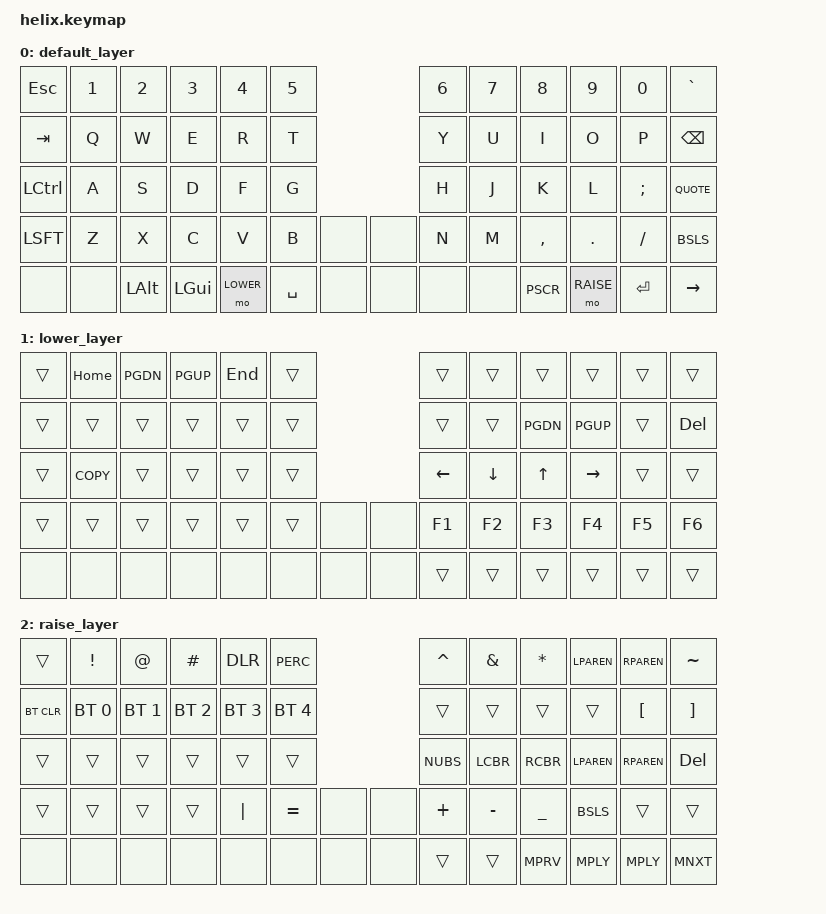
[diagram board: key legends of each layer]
/* /* */
/*  * Copyright (c) 2020 The ZMK Contributors */
/*  * */
/*  * SPDX-License-Identifier: MIT */
/*  */ */
/**/
/*  #include <behaviors.dtsi> */
/*  #include <dt-bindings/zmk/keys.h> */
/*  #include <dt-bindings/zmk/bt.h> */
/*  #include <dt-bindings/zmk/rgb.h> */
/*  #include <dt-bindings/zmk/ext_power.h> */
/*  #include <dt-bindings/zmk/outputs.h> */
/**/
/*  #define DEFAULT 0 */
/*  #define LOWER  1 */
/*  #define RAISE  2 */
/*  #define ADJUST 3 */
/**/
/* /* NOTE: At the time of the creation of this keymap, there are no specified codes for 'eisuu' and 'kana' input in ZMK. */
/* However, 'LANG1' and 'LANG2' are fully-functioning candidates for 'kana' and 'eisuu' input respectively. */
/* As such, those are in use within the default layer at this time.*/ */
/**/
/* / { */
/*        keymap { */
/*               compatible = "zmk,keymap"; */
/**/
/*               default_layer { */
/*  // --------------------------------------------------------------------------------------------------------------------------------- */
/*  // | GRAVE  |   1    |   2    |   3    |   4    |   5    |                                      |   6    |   7    |   8    |   9    |   0    |  DEL   | */
/*  // |  TAB   |   Q    |   W    |   E    |   R    |   T    |                                      |   Y    |   U    |   I    |   O    |   P    |  BSPC  | */
/*  // |  CTRL  |   A    |   S    |   D    |   F    |   G    |                                      |   H    |   J    |   K    |   L    |   ;    |   '    | */
/*  // |  SHIFT |   Z    |   X    |   C    |   V    |   B    |  LBKT  |                    |  RBKT  |   N    |   M    |   ,    |   .    |   /    |  RET   | */
/*  // | ADJUST |  ESC   |  ALT   |  LGUI  | EISUU  | LOWER  | SPACE  |                    |  SPACE | RAISE  |  KANA  |  LEFT  |  DOWN  |  UP    |  RIGHT | */
/*                      bindings = < */
/*        &kp GRAVE  &kp N1  &kp N2   &kp N3   &kp N4    &kp N5                               &kp N6    &kp N7    &kp N8    &kp N9     &kp N0    &kp DEL */
/*        &kp TAB    &kp Q   &kp W    &kp E    &kp R     &kp T                                &kp Y     &kp U     &kp I     &kp O      &kp P     &kp BSPC */
/*        &kp LCTRL  &kp A   &kp S    &kp D    &kp F     &kp G                                &kp H     &kp J     &kp K     &kp L      &kp SEMI  &kp SQT */
/*        &kp LSHFT  &kp Z   &kp X    &kp C    &kp V     &kp B     &kp LBKT         &kp RBKT  &kp N     &kp M     &kp COMMA &kp PERIOD &kp SLASH &kp RET */
/*        &mo ADJUST &kp ESC &kp LALT &kp LGUI &kp LANG2 &mo LOWER &kp SPACE        &kp SPACE &mo RAISE &kp LANG1 &kp LEFT  &kp DOWN   &kp UP    &kp RIGHT */
/*                      >; */
/*               }; */
/*               lower_layer { */
/*  // --------------------------------------------------------------------------------------------------------------------------------- */
/*  // |      |      |      |      |      |      |                                  |      |      |      |      |      |      | */
/*  // |  ~   |  !   |  @   |  #   |  $   |  %   |                                  |  ^   |  &   |  *   |  (   |  )   |      | */
/*  // |      |      |      |      |      |      |                                  |      |  _   |  +   |  {   |  }   | PIPE | */
/*  // |      |      |      |      |      |      |  (   |                    |  )   |      |      |      | HOME | END  |      | */
/*  // |      |      |      |      |      |      |      |                    |      |      |      |      |      |      |      | */
/*                      bindings = < */
/*        &trans    &trans   &trans &trans   &trans   &trans                             &trans    &trans    &trans    &trans   &trans   &trans */
/*        &kp TILDE &kp EXCL &kp AT &kp HASH &kp DLLR &kp PRCNT                          &kp CARET &kp AMPS  &kp ASTRK &kp LPAR &kp RPAR &trans */
/*        &trans    &trans   &trans &trans   &trans   &trans                             &trans    &kp UNDER &kp PLUS  &kp LBRC &kp RBRC &kp PIPE */
/*        &trans    &trans   &trans &trans   &trans   &trans    &kp LPAR        &kp RPAR &trans    &trans    &trans    &kp HOME &kp END  &trans */
/*        &trans    &trans   &trans &trans   &trans   &trans    &trans          &trans   &trans    &trans    &trans    &trans   &trans   &trans */
/*                      >; */
/*               }; */
/*               raise_layer { */
/*  // --------------------------------------------------------------------------------------------------------------------------------- */
/*  // |       |       |       |       |       |       |                                    |       |       |       |       |       |       | */
/*  // |   `   |   1   |   2   |   3   |   4   |   5   |                                    |   6   |   7   |   8   |   9   |   0   |  DEL  | */
/*  // |       |  F1   |  F2   |  F3   |  F4   |  F5   |                                    |  F6   |   -   |   =   |   [   |   ]   |   \   | */
/*  // |       |  F7   |  F8   |  F9   |  F10  |  F11  |       |                    |       |  F12  |       | PSCRN | PG_DN | PG_UP |       | */
/*  // |       |       |       |       |       |       |       |                    |       |       |       | NEXT  | VOL-  | VOL+  | PLAY  | */
/*                      bindings = < */
/*        &trans    &trans &trans &trans &trans  &trans                       &trans  &trans    &trans     &trans       &trans       &trans */
/*        &kp GRAVE &kp N1 &kp N2 &kp N3 &kp N4  &kp N5                       &kp N6  &kp N7    &kp N8     &kp N9       &kp N0       &kp DEL */
/*        &trans    &kp F1 &kp F2 &kp F3 &kp F4  &kp F5                       &kp F6  &kp MINUS &kp EQUAL  &kp LBKT     &kp RBKT     &kp BSLH */
/*        &trans    &kp F7 &kp F8 &kp F9 &kp F10 &kp F11 &trans        &trans &kp F12 &trans    &kp PSCRN  &kp PG_DN    &kp PG_UP    &trans */
/*        &trans    &trans &trans &trans &trans  &trans  &trans        &trans &trans  &trans    &kp C_NEXT &kp C_VOL_DN &kp C_VOL_UP &kp C_PP */
/*                      >; */
/*               }; */
/*               adjust_layer { */
/*  // --------------------------------------------------------------------------------------------------------------------------------- */
/*  // |    `     |    !     |    @     |    #     |    $     |    %     |                                          |    ^     |    &     |    *     |    (     |    )     |  EP TOG  | */
/*  // |  BT CLR  | BT SEL0  | BT SEL1  | BT SEL2  | BGT SEL3 | BT SEL4  |                                          | RGB EFF+ | RGB HUE+ | RGB SAT+ | RGB SPD+ | RGB BRI+ | RGB TOG  | */
/*  // |  BT NXT  | OUT TOG  | OUT USB  | OUT BLE  |          |          |                                          | RGB EFF- | RGB HUE- | RGB SAT- | RGB SPD- | RGB BRI- |          | */
/*  // |  BT PRV  |          |          |          |          |          |    {     |                    |    }     |          |          |          |          |          |          | */
/*  // |          |          |          |          |          |          |          |                    |          |          |          |          |          |          |          | */
/*                      bindings = < */
/*        &kp GRAVE  &kp EXCL     &kp AT       &kp HASH     &kp DLLR     &kp PRCNT                             &kp CARET       &kp AMPS        &kp ASTRK       &kp LPAR        &kp RPAR        &ext_power EP_TOG */
/*        &bt BT_CLR &bt BT_SEL 0 &bt BT_SEL 1 &bt BT_SEL 2 &bt BT_SEL 3 &bt BT_SEL 4                          &rgb_ug RGB_EFF &rgb_ug RGB_HUI &rgb_ug RGB_SAI &rgb_ug RGB_SPI &rgb_ug RGB_BRI &rgb_ug RGB_TOG */
/*        &bt BT_NXT &out OUT_TOG &out OUT_USB &out OUT_BLE &trans       &trans                                &rgb_ug RGB_EFR &rgb_ug RGB_HUD &rgb_ug RGB_SAD &rgb_ug RGB_SPD &rgb_ug RGB_BRD &trans */
/*        &bt BT_PRV &trans       &trans       &trans       &trans       &trans       &kp LBRC        &kp RBRC &trans          &trans          &trans          &trans          &trans          &trans */
/*        &trans     &trans       &trans       &trans       &trans       &trans       &trans          &trans   &trans          &trans          &trans          &trans          &trans          &trans */
/*                      >; */
/*               }; */
/*        }; */
/* }; */

/ {
  keymap {
    compatible = "zmk,keymap";

    // QWERTY Layer
    default_layer {
      bindings = <
        &kp ESC    &kp 1     &kp 2     &kp 3     &kp 4     &kp 5                      &kp 6     &kp 7     &kp 8     &kp 9     &kp 0     &kp GRAVE 
        &kp TAB    &kp Q     &kp W     &kp E     &kp R     &kp T                      &kp Y     &kp U     &kp I     &kp O     &kp P     &kp BSPC  
        &kp LCTL   &kp A     &kp S     &kp D     &kp F     &kp G                      &kp H     &kp J     &kp K     &kp L     &kp SEMI  &kp QUOTE 
        &kp LSFT   &kp Z     &kp X     &kp C     &kp V     &kp B     &none     &none  &kp N     &kp M     &kp COMMA &kp DOT   &kp SLASH &kp BSLS  
        &none      &none     &kp LALT  &kp LGUI  &mo LOWER &kp SPACE &none     &none  &none     &none     &kp PSCR  &mo RAISE &kp ENTER &kp RIGHT 
      >;
    };

    // LOWER Layer
    lower_layer {
      bindings = <
        &trans &kp HOME &kp PGDN &kp PGUP &kp END  &trans                  &trans &trans   &trans   &trans   &trans   &trans   
        &trans &trans   &trans   &trans   &trans   &trans                  &trans &trans   &kp PGDN &kp PGUP &trans   &kp DEL  
        &trans &kp COPY &trans   &trans   &trans   &trans                  &kp LEFT &kp DOWN &kp UP &kp RIGHT &trans &trans    
        &trans &trans   &trans   &trans   &trans   &trans &none     &none  &kp F1   &kp F2   &kp F3   &kp F4   &kp F5   &kp F6 
        &none  &none    &none    &none    &none    &none  &none     &none  &trans   &trans   &trans  &trans   &trans   &trans  
      >;
    };

    // RAISE Layer
    raise_layer {
      bindings = <
        &trans     &kp EXCL     &kp AT       &kp HASH     &kp DLR      &kp PERC                  &kp CARET &kp AMPS &kp ASTERISK &kp LPAREN &kp RPAREN   &kp TILDE 
        &bt BT_CLR &bt BT_SEL 0 &bt BT_SEL 1 &bt BT_SEL 2 &bt BT_SEL 3 &bt BT_SEL 4              &trans    &trans   &trans       &trans     &kp LBKT     &kp RBKT  
        &trans     &trans       &trans       &trans       &trans       &trans                    &kp NUBS  &kp LCBR &kp RCBR     &kp LPAREN &kp RPAREN &kp DEL     
        &trans     &trans       &trans       &trans       &kp PIPE     &kp EQUAL &none    &none  &kp PLUS  &kp MINUS &kp UNDER   &kp BSLS   &trans     &trans      
        &none      &none        &none        &none        &none        &none     &none    &none  &trans    &trans   &kp MPRV     &kp MPLY   &kp MPLY   &kp MNXT    
      >;
    };
  };
};
